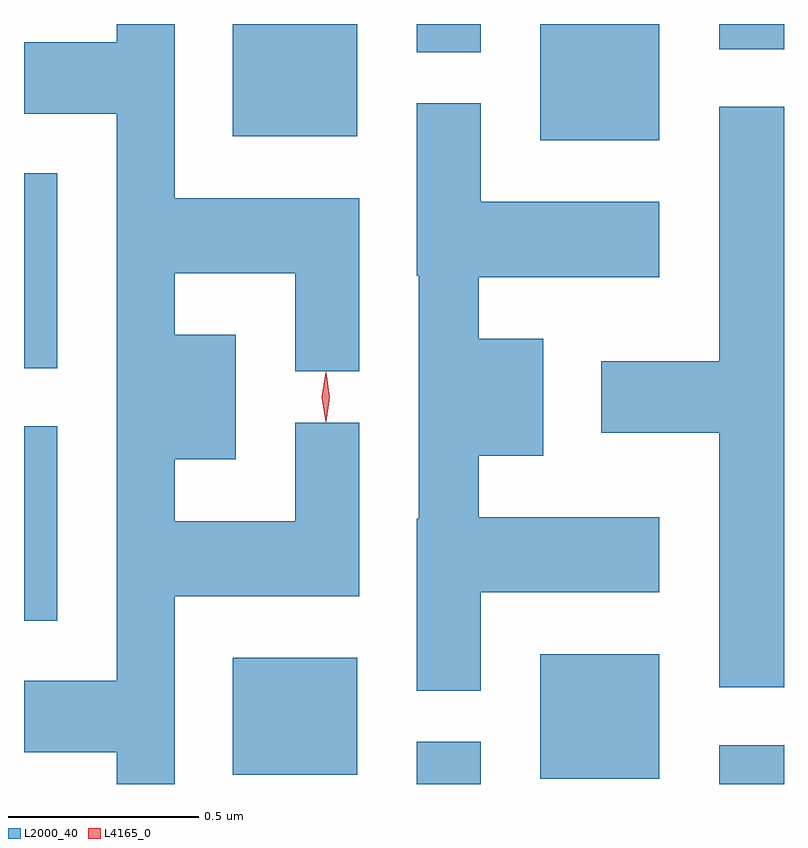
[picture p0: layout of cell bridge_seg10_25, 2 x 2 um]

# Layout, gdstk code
import gdstk
lib = gdstk.Library(unit=1e-6, precision=1e-09)
def R(c, l, rs):  # rectangles x0, y0, x1, y1
    for r in rs: c.add(gdstk.rectangle(r[:2], r[2:], *l))
def P(c, l, *ps):  # polygons
    for p in ps: c.add(gdstk.Polygon(p, *l))
L2000_40 = (2000, 40)
L4165_0 = (4165, 0)

bridge_seg10_25 = lib.new_cell('bridge_seg10_25')
R(bridge_seg10_25, L2000_40, [(1750.371,2166.472,1750.539,2166.583), (1751.166,2166.472,1751.337,2166.574), (1750.696,2166.486,1751.009,2166.814), (1749.886,2166.496,1750.214,2166.804), (1749.337,2166.901,1749.424,2167.414), (1749.337,2167.566,1749.424,2168.079), (1750.696,2168.166,1751.009,2168.472), (1749.886,2168.176,1750.214,2168.472), (1750.371,2168.398,1750.539,2168.472), (1751.166,2168.406,1751.337,2168.472)])
P(bridge_seg10_25, L2000_40, [(1749.337,2166.744),(1749.337,2166.556),(1749.581,2166.556),(1749.581,2166.472),(1749.734,2166.472),(1749.734,2166.966),(1750.219,2166.966),(1750.219,2167.423),(1750.051,2167.423),(1750.051,2167.164),(1749.734,2167.164),(1749.734,2167.326),(1749.894,2167.326),(1749.894,2167.654),(1749.734,2167.654),(1749.734,2167.816),(1750.051,2167.816),(1750.051,2167.558),(1750.219,2167.558),(1750.219,2168.014),(1749.734,2168.014),(1749.734,2168.472),(1749.581,2168.472),(1749.581,2168.424),(1749.337,2168.424),(1749.337,2168.236),(1749.581,2168.236),(1749.581,2166.744)],
  [(1750.539,2166.976),(1751.009,2166.976),(1751.009,2167.174),(1750.534,2167.174),(1750.534,2167.336),(1750.704,2167.336),(1750.704,2167.644),(1750.534,2167.644),(1750.534,2167.806),(1751.009,2167.806),(1751.009,2168.004),(1750.539,2168.004),(1750.539,2168.263),(1750.371,2168.263),(1750.371,2167.81),(1750.376,2167.81),(1750.376,2167.17),(1750.371,2167.17),(1750.371,2166.718),(1750.539,2166.718)],
  [(1751.337,2168.254),(1751.166,2168.254),(1751.166,2167.584),(1750.856,2167.584),(1750.856,2167.396),(1751.166,2167.396),(1751.166,2166.726),(1751.337,2166.726)])
P(bridge_seg10_25, L4165_0, [(1750.131,2167.424),(1750.131,2167.425),(1750.121,2167.49),(1750.131,2167.555),(1750.131,2167.556),(1750.132,2167.555),(1750.141,2167.49),(1750.132,2167.425)])

lib.write_gds('bridge_seg10_25.gds')
